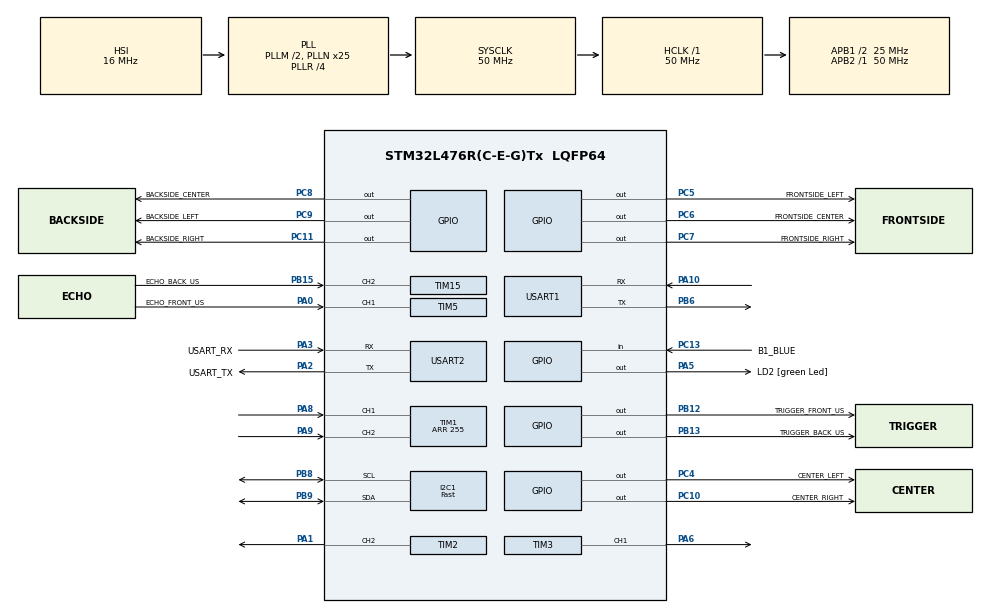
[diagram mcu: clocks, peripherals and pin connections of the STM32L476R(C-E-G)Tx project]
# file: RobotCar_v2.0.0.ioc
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Dma.Request0=USART2_RX
Dma.Request1=USART2_TX
Dma.Request2=USART1_RX
Dma.Request3=USART1_TX
Dma.USART1_RX.2.Direction=DMA_PERIPH_TO_MEMORY
Dma.USART1_RX.2.Instance=DMA1_Channel5
Dma.USART1_RX.2.MemDataAlignment=DMA_MDATAALIGN_BYTE
Dma.USART1_RX.2.MemInc=DMA_MINC_ENABLE
Dma.USART1_RX.2.Mode=DMA_NORMAL
Dma.USART1_RX.2.PeriphDataAlignment=DMA_PDATAALIGN_BYTE
Dma.USART1_RX.2.PeriphInc=DMA_PINC_DISABLE
Dma.USART1_RX.2.Priority=DMA_PRIORITY_LOW
Dma.USART1_TX.3.Direction=DMA_MEMORY_TO_PERIPH
Dma.USART1_TX.3.Instance=DMA1_Channel4
Dma.USART1_TX.3.MemDataAlignment=DMA_MDATAALIGN_BYTE
Dma.USART1_TX.3.MemInc=DMA_MINC_ENABLE
Dma.USART1_TX.3.Mode=DMA_NORMAL
Dma.USART1_TX.3.PeriphDataAlignment=DMA_PDATAALIGN_BYTE
Dma.USART1_TX.3.PeriphInc=DMA_PINC_DISABLE
Dma.USART1_TX.3.Priority=DMA_PRIORITY_LOW
Dma.USART2_RX.0.Direction=DMA_PERIPH_TO_MEMORY
Dma.USART2_RX.0.Instance=DMA1_Channel6
Dma.USART2_RX.0.MemDataAlignment=DMA_MDATAALIGN_BYTE
Dma.USART2_RX.0.MemInc=DMA_MINC_ENABLE
Dma.USART2_RX.0.Mode=DMA_NORMAL
Dma.USART2_RX.0.PeriphDataAlignment=DMA_PDATAALIGN_BYTE
Dma.USART2_RX.0.PeriphInc=DMA_PINC_DISABLE
Dma.USART2_RX.0.Priority=DMA_PRIORITY_LOW
Dma.USART2_TX.1.Direction=DMA_MEMORY_TO_PERIPH
Dma.USART2_TX.1.Instance=DMA1_Channel7
Dma.USART2_TX.1.MemDataAlignment=DMA_MDATAALIGN_BYTE
Dma.USART2_TX.1.MemInc=DMA_MINC_ENABLE
Dma.USART2_TX.1.Mode=DMA_NORMAL
Dma.USART2_TX.1.PeriphDataAlignment=DMA_PDATAALIGN_BYTE
Dma.USART2_TX.1.PeriphInc=DMA_PINC_DISABLE
Dma.USART2_TX.1.Priority=DMA_PRIORITY_LOW
I2C1.I2C_Speed_Mode=I2C_Fast
I2C1.Timing=0x00200B2B
Mcu.Family=STM32L4
Mcu.Name=STM32L476R(C-E-G)Tx
Mcu.Package=LQFP64
NVIC.DMA1_Channel4_IRQn=true\:0\:0\:false\:false\:true\:false\:true\:true
NVIC.DMA1_Channel5_IRQn=true\:0\:0\:false\:false\:true\:false\:true\:true
NVIC.DMA1_Channel6_IRQn=true\:0\:0\:false\:false\:true\:false\:true\:true
NVIC.DMA1_Channel7_IRQn=true\:0\:0\:false\:false\:true\:false\:true\:true
NVIC.PriorityGroup=NVIC_PRIORITYGROUP_4
NVIC.TIM1_BRK_TIM15_IRQn=true\:0\:0\:false\:false\:true\:true\:true\:true
NVIC.TIM2_IRQn=true\:0\:0\:false\:false\:true\:true\:true\:true
NVIC.TIM5_IRQn=true\:0\:0\:false\:false\:true\:true\:true\:true
NVIC.USART1_IRQn=true\:0\:0\:false\:false\:true\:true\:true\:true
NVIC.USART2_IRQn=true\:0\:0\:false\:false\:true\:true\:true\:true
PA0.GPIO_Label=ECHO_FRONT_US
PA0.Signal=S_TIM5_CH1
PA1.Signal=S_TIM2_CH2
PA10.Mode=Asynchronous
PA10.Signal=USART1_RX
PA13\ (JTMS-SWDIO).GPIO_Label=TMS
PA13\ (JTMS-SWDIO).Mode=Serial_Wire
PA13\ (JTMS-SWDIO).Signal=SYS_JTMS-SWDIO
PA14\ (JTCK-SWCLK).GPIO_Label=TCK
PA14\ (JTCK-SWCLK).Mode=Serial_Wire
PA14\ (JTCK-SWCLK).Signal=SYS_JTCK-SWCLK
PA2.GPIO_Label=USART_TX
PA2.GPIO_Mode=GPIO_MODE_AF_PP
PA2.GPIO_PuPd=GPIO_NOPULL
PA2.GPIO_Speed=GPIO_SPEED_FREQ_VERY_HIGH
PA2.Mode=Asynchronous
PA2.Signal=USART2_TX
PA3.GPIO_Label=USART_RX
PA3.GPIO_Mode=GPIO_MODE_AF_PP
PA3.GPIO_PuPd=GPIO_NOPULL
PA3.GPIO_Speed=GPIO_SPEED_FREQ_VERY_HIGH
PA3.Mode=Asynchronous
PA3.Signal=USART2_RX
PA5.GPIO_Label=LD2 [green Led]
PA5.GPIO_ModeDefaultOutputPP=GPIO_MODE_OUTPUT_PP
PA5.GPIO_PuPd=GPIO_NOPULL
PA5.GPIO_Speed=GPIO_SPEED_FREQ_LOW
PA5.Signal=GPIO_Output
PA6.Signal=S_TIM3_CH1
PA8.Signal=S_TIM1_CH1
PA9.Signal=S_TIM1_CH2
PB12.GPIO_Label=TRIGGER_FRONT_US
PB12.Signal=GPIO_Output
PB13.GPIO_Label=TRIGGER_BACK_US
PB13.Signal=GPIO_Output
PB15.GPIO_Label=ECHO_BACK_US
PB15.Signal=S_TIM15_CH2
PB3\ (JTDO-TRACESWO).GPIO_Label=SWO
PB3\ (JTDO-TRACESWO).Signal=SYS_JTDO-SWO
PB6.Mode=Asynchronous
PB6.Signal=USART1_TX
PB8.GPIO_FM8=SYSCFG_FASTMODEPLUS_PB8
PB8.GPIO_Pu=GPIO_PULLUP
PB8.Mode=I2C
PB8.Signal=I2C1_SCL
PB9.GPIO_FM9=SYSCFG_FASTMODEPLUS_PB9
PB9.GPIO_Pu=GPIO_PULLUP
PB9.Mode=I2C
PB9.Signal=I2C1_SDA
PC10.GPIO_Label=CENTER_RIGHT
PC10.Signal=GPIO_Output
PC11.GPIO_Label=BACKSIDE_RIGHT
PC11.Signal=GPIO_Output
PC13.GPIO_Label=B1_BLUE
PC13.Signal=GPIO_Input
PC14-OSC32_IN\ (PC14).Mode=LSE-External-Oscillator
PC14-OSC32_IN\ (PC14).Signal=RCC_OSC32_IN
PC15-OSC32_OUT\ (PC15).Mode=LSE-External-Oscillator
PC15-OSC32_OUT\ (PC15).Signal=RCC_OSC32_OUT
PC4.GPIO_Label=CENTER_LEFT
PC4.Signal=GPIO_Output
PC5.GPIO_Label=FRONTSIDE_LEFT
PC5.Signal=GPIO_Output
PC6.GPIO_Label=FRONTSIDE_CENTER
PC6.Signal=GPIO_Output
PC7.GPIO_Label=FRONTSIDE_RIGHT
PC7.Signal=GPIO_Output
PC8.GPIO_Label=BACKSIDE_CENTER
PC8.PinState=GPIO_PIN_RESET
PC8.Signal=GPIO_Output
PC9.GPIO_Label=BACKSIDE_LEFT
PC9.PinState=GPIO_PIN_RESET
PC9.Signal=GPIO_Output
PH0-OSC_IN\ (PH0).Signal=RCC_OSC_IN
PH1-OSC_OUT\ (PH1).Signal=RCC_OSC_OUT
ProjectManager.HeapSize=0x200
ProjectManager.StackSize=0x400
ProjectManager.TargetToolchain=STM32CubeIDE
RCC.ADCFreq_Value=32000000
RCC.AHBFreq_Value=50000000
RCC.APB1CLKDivider=RCC_HCLK_DIV2
RCC.APB1Freq_Value=25000000
RCC.APB1TimFreq_Value=50000000
RCC.APB2Freq_Value=50000000
RCC.APB2TimFreq_Value=50000000
RCC.CortexFreq_Value=50000000
RCC.HCLKFreq_Value=50000000
RCC.HSE_VALUE=8000000
RCC.HSI_VALUE=16000000
RCC.MSI_VALUE=4000000
RCC.PLLM=2
RCC.PLLN=25
RCC.PLLR=RCC_PLLR_DIV4
RCC.PLLSourceVirtual=RCC_PLLSOURCE_HSI
RCC.PREFETCH_ENABLE=1
RCC.SYSCLKFreq_VALUE=50000000
RCC.SYSCLKSource=RCC_SYSCLKSOURCE_PLLCLK
RCC.USBFreq_Value=32000000
RCC.VCOOutputFreq_Value=200000000
SH.S_TIM15_CH2.0=TIM15_CH2,Input_Capture2_from_TI2
SH.S_TIM1_CH1.0=TIM1_CH1,Encoder_Interface
SH.S_TIM1_CH2.0=TIM1_CH2,Encoder_Interface
SH.S_TIM2_CH2.0=TIM2_CH2,PWM Generation2 CH2
SH.S_TIM3_CH1.0=TIM3_CH1,PWM Generation1 CH1
SH.S_TIM5_CH1.0=TIM5_CH1,Input_Capture1_from_TI1
TIM1.EncoderMode=TIM_ENCODERMODE_TI1
TIM1.IC1Filter=10
TIM1.Period=255
TIM15.Channel-Input_Capture2_from_TI2=TIM_CHANNEL_2
TIM15.ICFilter_CH2=4
TIM15.ICPolarity_CH2=TIM_INPUTCHANNELPOLARITY_BOTHEDGE
TIM15.Period=10000
TIM15.Prescaler=50-1
TIM2.Channel-PWM\ Generation2\ CH2=TIM_CHANNEL_2
TIM2.Period=999
TIM2.Prescaler=899
TIM3.Channel-PWM\ Generation1\ CH1=TIM_CHANNEL_1
TIM3.Period=999
TIM3.Prescaler=899
TIM4.Period=0
TIM4.Prescaler=50-1
TIM5.Channel-Input_Capture1_from_TI1=TIM_CHANNEL_1
TIM5.ICFilter_CH1=4
TIM5.ICPolarity_CH1=TIM_INPUTCHANNELPOLARITY_BOTHEDGE
TIM5.Period=10000
TIM5.Prescaler=50-1
USART1.VirtualMode-Asynchronous=VM_ASYNC
USART2.VirtualMode-Asynchronous=VM_ASYNC
VP_TIM15_VS_ClockSourceINT.Mode=Internal
VP_TIM2_VS_ClockSourceINT.Mode=Internal
VP_TIM3_VS_ClockSourceINT.Mode=Internal
VP_TIM4_VS_ClockSourceINT.Mode=Internal
VP_TIM5_VS_ClockSourceINT.Mode=Internal
board=NUCLEO-L476RG

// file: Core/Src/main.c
/* USER CODE BEGIN Header */
/**
  ******************************************************************************
  * @file           : main.c
  * @brief          : Main program body
  ******************************************************************************
  * @attention
  *
  * Copyright (c) 2023 STMicroelectronics.
  * All rights reserved.
  *
  * This software is licensed under terms that can be found in the LICENSE file
  * in the root directory of this software component.
  * If no LICENSE file comes with this software, it is provided AS-IS.
  *
  ******************************************************************************
  */
/* USER CODE END Header */
#include "main.h"

/* USER CODE BEGIN Includes */
#include <stdio.h>
#include "VL53L4CD_RANGING.h"	// Beinhaltet alle Funktionen für Verwendung des VL53L4CD Sensors	[TOF]
#include "HCSR04_RANGING.h"		// Beinhaltet alle Funktionen für Verwendung des HCSR04 Sensors	 	[US]

/* USER CODE END Includes */

#define RESET_LENKUNG	83U;	//Nullstellung
#define RESET_MOTOR		75U;	//Nullstellung

#define PUTCHAR int __io_putchar(int ch)	// Set printf to COM3 port || serielle Schnittstelle
/* USER CODE BEGIN PD */

enum STATE{
	STOP, DRIVE, PARK
};
/* USER CODE END PD */

I2C_HandleTypeDef hi2c1;

TIM_HandleTypeDef htim1;
TIM_HandleTypeDef htim2;
TIM_HandleTypeDef htim3;

UART_HandleTypeDef huart1;
UART_HandleTypeDef huart2;
DMA_HandleTypeDef hdma_usart1_rx;
DMA_HandleTypeDef hdma_usart1_tx;
DMA_HandleTypeDef hdma_usart2_rx;
DMA_HandleTypeDef hdma_usart2_tx;

/* USER CODE BEGIN PV */

//Abstaende:
enum STATE state = STOP;

/* USER CODE END PV */

void SystemClock_Config(void);
static void MX_GPIO_Init(void);
static void MX_DMA_Init(void);
static void MX_USART2_UART_Init(void);
static void MX_I2C1_Init(void);
static void MX_TIM2_Init(void);
static void MX_TIM1_Init(void);
static void MX_TIM3_Init(void);
static void MX_USART1_UART_Init(void);
static void MX_TIM5_Init(void);
static void MX_TIM15_Init(void);
static void MX_TIM4_Init(void);
/* USER CODE BEGIN PFP */

static void TOGGLE_PIN(GPIO_TypeDef* GPIOx, uint16_t GPIO_Pin);
// static void SET_PWM_MOTOR(uint8_t value);
// static void SET_PWM_LENKUNG(uint8_t value);
static void ENCODE_SIGN(uint8_t value);
static void START_PARKING(void);
static void CHECK_STATE(void);

static void CHECK_STATE(void);
GPIO_PinState CHECK_BUTTON(void);
static void START_SIGNAL(uint16_t MODE);

// unsigned long SysTickGetTickcount(void);
/* USER CODE END PFP */

int main(void)
{

  /* MCU Configuration--------------------------------------------------------*/

  /* Reset of all peripherals, Initializes the Flash interface and the Systick. */
  HAL_Init();

  /* Configure the system clock */
  SystemClock_Config();

  /* Initialize all configured peripherals */
  MX_GPIO_Init();
  MX_DMA_Init();
  MX_USART2_UART_Init();
  MX_I2C1_Init();
  MX_TIM2_Init();
  MX_TIM1_Init();
  MX_TIM3_Init();
  MX_USART1_UART_Init();
  MX_TIM5_Init();
  MX_TIM15_Init();
  MX_TIM4_Init();

  TOF_INIT();
  SET_OFFSET();

  /* USER CODE BEGIN 2 */

  //UART
//  uint8_t tx_buff[10]={11,12,13,14,15,16,17,18,19};
  uint8_t rx_buff[10]={0};
//  uint8_t rx_buff2[10]={0};
  state = STOP;

  HAL_UART_Receive_DMA(&huart1,rx_buff,10);
  HAL_UART_Transmit_DMA(&huart2,"System Startup from Reset State\n",32);
  int UART_Tick = 0;

  //PWM Servo Lenkung
  HAL_TIM_PWM_Start(&htim2, TIM_CHANNEL_2); //Clock is at 45MHZ Prescaler 900 Counter Period 1000 =>50Hz for Servo PWM
  rx_buff[8]=0;
  //50Hz==20ms (PA1)

  //PWM Motor Antrieb
  HAL_TIM_PWM_Start(&htim3, TIM_CHANNEL_1); //Clock is at 45MHZ Prescaler 900 Counter Period 1000 =>50Hz for Servo PWM
  //PA6

//	Encoder
//  uint32_t timer_counter=0;
//  HAL_TIM_Encoder_Start(&htim1,TIM_CHANNEL_1);

  //Hier wird das Neutralsignal für den Fahrtregler ausgegeben.
//  SET_PWM_MOTOR(75); 	// Set zero position of motor driver (TIM3 PWM Motor)
  htim3.Instance->CCR1 = RESET_MOTOR;
  HAL_Delay(2000);		// Wait for motor driver to get zero position

  //Callback at USER CODE 4

  /* USER CODE END 2 */

  /* Infinite loop */
  while (1)
  {

    /* USER CODE BEGIN 3 */

	  switch (state) {

		case STOP:
//			SET_PWM_LENKUNG(83); //Set Duty Cycle of TIM2 PWM Lenkung
			htim2.Instance->CCR2 = RESET_LENKUNG;
//			SET_PWM_MOTOR(75); //Set Duty Cycle of TIM3 PWM Motor
			htim3.Instance->CCR1 = RESET_MOTOR;
			HAL_Delay(1000);

			CHECK_STATE();	//Checkt den aktuellen Fahrmodus (durch blauen Knopf änderbar) | einmal drücken DRIVE, kurz gedrückt halten PARK

		case DRIVE:
			HAL_UART_Receive_DMA(&huart1,rx_buff,10); //Achtung Uart1 bei L476 TX(D8/PA9) RX(D2/PA10) nach Beschriftung entsprechen diese Pins Uart0!
				 if((SysTickGetTickcount()-UART_Tick)>=1000)
				 {

//					timer_counter=TIM1->CNT;
					//HAL_UART_Transmit_DMA(&huart2,&timer_counter,1);

					UART_Tick=SysTickGetTickcount();
//					if(rx_buff[9]==88){HAL_GPIO_TogglePin(GPIOA,GPIO_PIN_5);}
					if(rx_buff[9]==88){TOGGLE_PIN(GPIOA,GPIO_PIN_5);}

				//WICHTIG! im Fehlerfall via Debugger die Positionen der übertagenen UART Werte prüfen im rx_buff!
//					SET_PWM_LENKUNG(rx_buff[3]); //Set Duty Cycle of TIM2 PWM Lenkung
					htim2.Instance->CCR2 = rx_buff[3];
//					SET_PWM_MOTOR(rx_buff[4]); //Set Duty Cycle of TIM3 PWM Motor
					htim3.Instance->CCR1 = rx_buff[4];

					ENCODE_SIGN(rx_buff[5]);
					//ENCODE_SIGN(rx_buff[6]);

				 }
			break;

		case PARK:
			START_PARKING();
			break;

		default:
			break;
	}

  }
  /* USER CODE END 3 */
}

/* USER CODE BEGIN PFP */

void HAL_UART_RxCpltCallback(UART_HandleTypeDef *huart){__NOP();} //check if all Data is received

/**
 *	Toggelt Pin zwischen HIGH-LOW
 *
 */
static void TOGGLE_PIN(GPIO_TypeDef* GPIOx, uint16_t GPIO_Pin)
{
	 uint32_t odr;

	  /* Check the parameters */
	  assert_param(IS_GPIO_PIN(GPIO_Pin));

	  /* get current Output Data Register value */
	  odr = GPIOx->ODR;

	  /* Set selected pins that were at low level, and reset ones that were high */
	  GPIOx->BSRR = ((odr & GPIO_Pin) << 16U) | (~odr & GPIO_Pin);
}

/**
 *
 * Steuerung des Motors, value:
 * 75...100 Entspricht 0 bis 100% Geschwindigkeit
 * PWM wird erzeugt mit TIM3
 *
static void SET_PWM_MOTOR(uint8_t value)
{

	htim3.Instance->CCR1 = value;
}
**/

/**
 * Steuerung Lenkung: value:
 *  rechts max = 45, null = 83, links max = 105
 *  PWM wird erzeugt mit TIM2
 *
static void SET_PWM_LENKUNG(uint8_t value)
{
	htim2.Instance->CCR2 = value;
}
**/

/**
 * Auswerten welches Schild erkannt wurde und entsprechend den Modus ändern
 */
static void ENCODE_SIGN(uint8_t value)
{
	switch (value) {
		//Value für Einparkschild
		case 47:
			state = PARK;
			break;
		//Value für Stop:
		case 14:
			state = STOP;
			break;
		default:
			break;
	}
}

/**
 * Funktion die Auto losfahren/parken lässt: Reaktion auf Button Betätigung
 * Blaue Taste einmal drücken = DRIVE, Taste kurz gedrückt halten = PARK
 * LD2 leuchtet solange in STOP-MODE
 *
 * DRIVE-MODE: Bei Start schnelleres blinken der LED
 * PARK-MODE: Bei Start langsameres blinken der LED
*/
static void CHECK_STATE(void)
{
	uint8_t B1_VALUE = 0x01;

	TOGGLE_PIN(GPIOA,GPIO_PIN_5);

	do
	{
		B1_VALUE = CHECK_BUTTON();
	}
	while(B1_VALUE != 0x00U);

	printf("\nDRIVE-MODE:	START\n");
	state = DRIVE;
	HAL_Delay(750);	//Zeit die Taster gedrückt werden muss um in DRIVE zu schalten

	B1_VALUE = CHECK_BUTTON();

	if(B1_VALUE == 0x00U)
	{
		printf("\nPARK-MODE:	START\n");
		state = PARK;
	}

	TOGGLE_PIN(GPIOA,GPIO_PIN_5);

	if(state == DRIVE)
	{
		START_SIGNAL(100);
	}
	else
	{
		START_SIGNAL(300);
	}
}

/**
 * Funktion erkennt ob der Blaue Knopf auf dem STM32 Board gedrückt wurde
 * (PC13)
 */
GPIO_PinState CHECK_BUTTON(void)
{
	GPIO_PinState bitstatus;
	  /* Check the parameters */
	  assert_param(IS_GPIO_PIN(GPIO_PIN_13));

	  if ((GPIOC->IDR & GPIO_PIN_13) != 0x00U)
	  {
	    bitstatus = 0x01U;
	  }
	  else
	  {
	    bitstatus = 0x00U;
	  }
	  return bitstatus;
}

static void START_SIGNAL(uint16_t MODE)
{
	for(int i = 0; i < 5; i++)
	{
		HAL_Delay(MODE);
		TOGGLE_PIN(GPIOA,GPIO_PIN_5);
		HAL_Delay(MODE);
		TOGGLE_PIN(GPIOA,GPIO_PIN_5);
	}
}

/**
 * Einparkalgorythmus v1.1.3
 *
 * distance_TOF[1] = CENTER_LEFT, distance_TOF[2] = FRONTSIDE_LEFT, distance_TOF[3] = FRONTSIDE_CENTER, distance_TOF[4] = FRONTSIDE_RIGHT, distance_TOF[5] = BACKSIDE_CENTER, distance_TOF[6] = BACKSIDE_LEFT, distance_TOF[7] = CENRER_RIGHT, distance_TOF[8] = BACKSIDE_RIGHT
 * distance_US[0] = FRONT_CENTER_US, distance_US[1] = BACK_CENTER_US
 *
 * htim3 = MOTOR, htim2 = LENKUNG
 *
 * MOTOR: Rückwärts 50....75....100 Vorwärts
 * LENKUNG: Rechts 45....83....105 Links
 */
static void START_PARKING(void)
{
	int GW_PARKLÜCKE = 220U, GW_BACK = 400U, GW_PARALLEL_FRONT = 195U, GW_PARALLEL_CENTER = 250U, GW_KORREKTUR = 300U;	//GW = Grenzwert

	htim3.Instance->CCR1 = 83;

	while(1)
	{
		//Distanzcheck ob link/rechts einparken
		GET_TOF_DATA(2);
		GET_TOF_DATA(4);

		if (distance_TOF[2] < distance_TOF[4] && distance_TOF[4] != 0U)
		{
		//Fahren bis Lücke erkannt wird
			do
			{
				GET_TOF_DATA(2);
			}
			while(distance_TOF[2] < GW_PARKLÜCKE);	// TOF FRONTSIDE_LEFT

		//Fahren bis Lücke Zuende ist
			do
			{
				GET_TOF_DATA(2);
			}
			while(distance_TOF[2] > GW_PARKLÜCKE || distance_TOF[2] == 0U);	//TOF FRONTSIDE_LEFT

		//Fahren bis Auto in Position
			do
			{
				GET_TOF_DATA(1);
			}
			while(distance_TOF[1] > GW_PARKLÜCKE || distance_TOF[1] == 0U);	//TOF CENTER_LEFT

			htim3.Instance->CCR1 = RESET_MOTOR;

		//Rückwärts und voll links einlenken
			htim2.Instance->CCR2 = 105;
			HAL_Delay(1000);
			htim3.Instance->CCR1 = 69;
			HAL_Delay(1000);
			htim3.Instance->CCR1 = RESET_MOTOR;
			HAL_Delay(1000);
			htim3.Instance->CCR1 = 69;

		//Rückwärts bis TOF BACKSIDE_LEFT Mindestabstand erkannt, dann voll rechts einschlagen
			do
			{
				GET_TOF_DATA(6);
			}
			while(distance_TOF[6] > GW_BACK || distance_TOF[6] == 0U);	//TOF BACKSIDE_LEFT

			htim3.Instance->CCR1 = RESET_MOTOR;
			HAL_Delay(1000);
			htim2.Instance->CCR2 = 45;
			HAL_Delay(1000);
			htim3.Instance->CCR1 = 69;

			//Rückwärts bis Auto wieder paralell ist
				while(1)
				{
					GET_TOF_DATA(1);
					GET_TOF_DATA(2);

					if (distance_TOF[1] < GW_PARALLEL_CENTER && distance_TOF[2] < GW_PARALLEL_FRONT)	//TOF CENTER_LEFT | TOF FRONTSIDE_LEFT
					{
						htim3.Instance->CCR1 = RESET_MOTOR;
						htim2.Instance->CCR2 = RESET_LENKUNG;
						HAL_Delay(1000);
						break;
					}
				}

			htim3.Instance->CCR1 = 83;

		//Geradeaus bis Auto korrekt steht
			do
			{
				GET_TOF_DATA(3);
			}
			while(distance_TOF[3] > GW_KORREKTUR|| distance_TOF[3] == 0U);	//TOF FRONTSIDE_CENTER

			htim3.Instance->CCR1 = RESET_MOTOR;
			state = STOP;
			break;

		}
		else if(distance_TOF[4] < distance_TOF[2] && distance_TOF[2] != 0U)
		{
		//Fahren bis Lücke erkannt wird
			do
			{
				GET_TOF_DATA(4);
			}
			while(distance_TOF[4] < GW_PARKLÜCKE);	// TOF FRONTSIDE_RIGHT

		//Fahren bis Lücke Zuende ist
			do
			{
				GET_TOF_DATA(4);
			}
			while(distance_TOF[4] > GW_PARKLÜCKE || distance_TOF[4] == 0U);	//TOF FRONTSIDE_RIGHT

		//Fahren bis Auto in Position
			do
			{
				GET_TOF_DATA(7);
			}
			while(distance_TOF[7] > GW_PARKLÜCKE || distance_TOF[7] == 0U);	//TOF CENTER_RIGHT

			htim3.Instance->CCR1 = RESET_MOTOR;

		//Rückwärts und voll rechts einlenken
			htim2.Instance->CCR2 = 45;
			HAL_Delay(1000);
			htim3.Instance->CCR1 = 69;
			HAL_Delay(1000);
			htim3.Instance->CCR1 = RESET_MOTOR;
			HAL_Delay(1000);
			htim3.Instance->CCR1 = 69;

		//Rückwärts bis TOF BACKSIDE_RIGHT Mindestabstand erkannt, dann voll links einschlagen
			do
			{
				GET_TOF_DATA(8);
			}
			while(distance_TOF[8] > GW_BACK || distance_TOF[8] == 0U);	//TOF BACKSIDE_RIGHT

			htim3.Instance->CCR1 = RESET_MOTOR;
			HAL_Delay(1000);
			htim2.Instance->CCR2 = 105;
			HAL_Delay(1000);
			htim3.Instance->CCR1 = 69;

			//Rückwärts bis Auto wieder paralell ist
				while(1)
				{
					GET_TOF_DATA(7);
					GET_TOF_DATA(4);

					if (distance_TOF[7] < GW_PARALLEL_CENTER && distance_TOF[4] < GW_PARALLEL_FRONT)	//TOF CENTER_RIGHT | TOF FRONTSIDE_RIGHT
					{
						htim3.Instance->CCR1 = RESET_MOTOR;
						htim2.Instance->CCR2 = RESET_LENKUNG;
						HAL_Delay(1000);
						break;
					}
				}

			htim3.Instance->CCR1 = 83;

		//Geradeaus bis Auto korrekt steht
			do
			{
				GET_TOF_DATA(3);
			}
			while(distance_TOF[3] > GW_KORREKTUR|| distance_TOF[3] == 0U);	//TOF FRONTSIDE_CENTER

			htim3.Instance->CCR1 = RESET_MOTOR;
			state = STOP;
			break;

		}

	}

}

/**
 *	Funktion dient zur printf Ausgabe auf der seriellen Schnittstelle
 */
	PUTCHAR
	{
		/* e.g. write a character to the USART2 and Loop until the end of transmission */
		HAL_UART_Transmit(&huart2, (uint8_t *)&ch, 1, 0xFFFF);

		return ch;
	}

/* USER CODE END PFP */

void SystemClock_Config(void)
{
  RCC_OscInitTypeDef RCC_OscInitStruct = {0};
  RCC_ClkInitTypeDef RCC_ClkInitStruct = {0};

  /** Configure the main internal regulator output voltage
  */
  if (HAL_PWREx_ControlVoltageScaling(PWR_REGULATOR_VOLTAGE_SCALE1) != HAL_OK)
  {
    Error_Handler();
  }

  /** Initializes the RCC Oscillators according to the specified parameters
  * in the RCC_OscInitTypeDef structure.
  */
  RCC_OscInitStruct.OscillatorType = RCC_OSCILLATORTYPE_HSI;
  RCC_OscInitStruct.HSIState = RCC_HSI_ON;
  RCC_OscInitStruct.HSICalibrationValue = RCC_HSICALIBRATION_DEFAULT;
  RCC_OscInitStruct.PLL.PLLState = RCC_PLL_ON;
  RCC_OscInitStruct.PLL.PLLSource = RCC_PLLSOURCE_HSI;
  RCC_OscInitStruct.PLL.PLLM = 2;
  RCC_OscInitStruct.PLL.PLLN = 25;
  RCC_OscInitStruct.PLL.PLLP = RCC_PLLP_DIV7;
  RCC_OscInitStruct.PLL.PLLQ = RCC_PLLQ_DIV2;
  RCC_OscInitStruct.PLL.PLLR = RCC_PLLR_DIV4;
  if (HAL_RCC_OscConfig(&RCC_OscInitStruct) != HAL_OK)
  {
    Error_Handler();
  }

  /** Initializes the CPU, AHB and APB buses clocks
  */
  RCC_ClkInitStruct.ClockType = RCC_CLOCKTYPE_HCLK|RCC_CLOCKTYPE_SYSCLK
                              |RCC_CLOCKTYPE_PCLK1|RCC_CLOCKTYPE_PCLK2;
  RCC_ClkInitStruct.SYSCLKSource = RCC_SYSCLKSOURCE_PLLCLK;
  RCC_ClkInitStruct.AHBCLKDivider = RCC_SYSCLK_DIV1;
  RCC_ClkInitStruct.APB1CLKDivider = RCC_HCLK_DIV2;
  RCC_ClkInitStruct.APB2CLKDivider = RCC_HCLK_DIV1;

  if (HAL_RCC_ClockConfig(&RCC_ClkInitStruct, FLASH_LATENCY_3) != HAL_OK)
  {
    Error_Handler();
  }
}

static void MX_I2C1_Init(void)
{

  hi2c1.Instance = I2C1;
  hi2c1.Init.Timing = 0x00200B2B;
  hi2c1.Init.OwnAddress1 = 0;
  hi2c1.Init.AddressingMode = I2C_ADDRESSINGMODE_7BIT;
  hi2c1.Init.DualAddressMode = I2C_DUALADDRESS_DISABLE;
  hi2c1.Init.OwnAddress2 = 0;
  hi2c1.Init.OwnAddress2Masks = I2C_OA2_NOMASK;
  hi2c1.Init.GeneralCallMode = I2C_GENERALCALL_DISABLE;
  hi2c1.Init.NoStretchMode = I2C_NOSTRETCH_DISABLE;
  if (HAL_I2C_Init(&hi2c1) != HAL_OK)
  {
    Error_Handler();
  }

  /** Configure Analogue filter
  */
  if (HAL_I2CEx_ConfigAnalogFilter(&hi2c1, I2C_ANALOGFILTER_ENABLE) != HAL_OK)
  {
    Error_Handler();
  }

  /** Configure Digital filter
  */
  if (HAL_I2CEx_ConfigDigitalFilter(&hi2c1, 0) != HAL_OK)
  {
    Error_Handler();
  }

}

static void MX_TIM1_Init(void)
{

  TIM_Encoder_InitTypeDef sConfig = {0};
  TIM_MasterConfigTypeDef sMasterConfig = {0};

  htim1.Instance = TIM1;
  htim1.Init.Prescaler = 0;
  htim1.Init.CounterMode = TIM_COUNTERMODE_UP;
  htim1.Init.Period = 255;
  htim1.Init.ClockDivision = TIM_CLOCKDIVISION_DIV1;
  htim1.Init.RepetitionCounter = 0;
  htim1.Init.AutoReloadPreload = TIM_AUTORELOAD_PRELOAD_DISABLE;
  sConfig.EncoderMode = TIM_ENCODERMODE_TI1;
  sConfig.IC1Polarity = TIM_ICPOLARITY_RISING;
  sConfig.IC1Selection = TIM_ICSELECTION_DIRECTTI;
  sConfig.IC1Prescaler = TIM_ICPSC_DIV1;
  sConfig.IC1Filter = 10;
  sConfig.IC2Polarity = TIM_ICPOLARITY_RISING;
  sConfig.IC2Selection = TIM_ICSELECTION_DIRECTTI;
  sConfig.IC2Prescaler = TIM_ICPSC_DIV1;
  sConfig.IC2Filter = 0;
  if (HAL_TIM_Encoder_Init(&htim1, &sConfig) != HAL_OK)
  {
    Error_Handler();
  }
  sMasterConfig.MasterOutputTrigger = TIM_TRGO_RESET;
  sMasterConfig.MasterOutputTrigger2 = TIM_TRGO2_RESET;
  sMasterConfig.MasterSlaveMode = TIM_MASTERSLAVEMODE_DISABLE;
  if (HAL_TIMEx_MasterConfigSynchronization(&htim1, &sMasterConfig) != HAL_OK)
  {
    Error_Handler();
  }

}

static void MX_TIM2_Init(void)
{

  TIM_ClockConfigTypeDef sClockSourceConfig = {0};
  TIM_MasterConfigTypeDef sMasterConfig = {0};
  TIM_OC_InitTypeDef sConfigOC = {0};

  htim2.Instance = TIM2;
  htim2.Init.Prescaler = 899;
  htim2.Init.CounterMode = TIM_COUNTERMODE_UP;
  htim2.Init.Period = 999;
  htim2.Init.ClockDivision = TIM_CLOCKDIVISION_DIV1;
  htim2.Init.AutoReloadPreload = TIM_AUTORELOAD_PRELOAD_DISABLE;
  if (HAL_TIM_Base_Init(&htim2) != HAL_OK)
  {
    Error_Handler();
  }
  sClockSourceConfig.ClockSource = TIM_CLOCKSOURCE_INTERNAL;
  if (HAL_TIM_ConfigClockSource(&htim2, &sClockSourceConfig) != HAL_OK)
  {
    Error_Handler();
  }
  if (HAL_TIM_PWM_Init(&htim2) != HAL_OK)
  {
    Error_Handler();
  }
  sMasterConfig.MasterOutputTrigger = TIM_TRGO_RESET;
  sMasterConfig.MasterSlaveMode = TIM_MASTERSLAVEMODE_DISABLE;
  if (HAL_TIMEx_MasterConfigSynchronization(&htim2, &sMasterConfig) != HAL_OK)
  {
    Error_Handler();
  }
  sConfigOC.OCMode = TIM_OCMODE_PWM1;
  sConfigOC.Pulse = 0;
  sConfigOC.OCPolarity = TIM_OCPOLARITY_HIGH;
  sConfigOC.OCFastMode = TIM_OCFAST_DISABLE;
  if (HAL_TIM_PWM_ConfigChannel(&htim2, &sConfigOC, TIM_CHANNEL_2) != HAL_OK)
  {
    Error_Handler();
  }
  HAL_TIM_MspPostInit(&htim2);

}

static void MX_TIM3_Init(void)
{

  TIM_ClockConfigTypeDef sClockSourceConfig = {0};
  TIM_MasterConfigTypeDef sMasterConfig = {0};
  TIM_OC_InitTypeDef sConfigOC = {0};

  htim3.Instance = TIM3;
  htim3.Init.Prescaler = 899;
  htim3.Init.CounterMode = TIM_COUNTERMODE_UP;
  htim3.Init.Period = 999;
  htim3.Init.ClockDivision = TIM_CLOCKDIVISION_DIV1;
  htim3.Init.AutoReloadPreload = TIM_AUTORELOAD_PRELOAD_DISABLE;
  if (HAL_TIM_Base_Init(&htim3) != HAL_OK)
  {
    Error_Handler();
  }
  sClockSourceConfig.ClockSource = TIM_CLOCKSOURCE_INTERNAL;
  if (HAL_TIM_ConfigClockSource(&htim3, &sClockSourceConfig) != HAL_OK)
  {
    Error_Handler();
  }
  if (HAL_TIM_PWM_Init(&htim3) != HAL_OK)
  {
    Error_Handler();
  }
  sMasterConfig.MasterOutputTrigger = TIM_TRGO_RESET;
  sMasterConfig.MasterSlaveMode = TIM_MASTERSLAVEMODE_DISABLE;
  if (HAL_TIMEx_MasterConfigSynchronization(&htim3, &sMasterConfig) != HAL_OK)
  {
    Error_Handler();
  }
  sConfigOC.OCMode = TIM_OCMODE_PWM1;
  sConfigOC.Pulse = 0;
  sConfigOC.OCPolarity = TIM_OCPOLARITY_HIGH;
  sConfigOC.OCFastMode = TIM_OCFAST_DISABLE;
  if (HAL_TIM_PWM_ConfigChannel(&htim3, &sConfigOC, TIM_CHANNEL_1) != HAL_OK)
  {
    Error_Handler();
  }
  /* USER CODE BEGIN TIM3_Init 2 */
  HAL_TIM_Encoder_Start(&htim3,TIM_CHANNEL_ALL);					///*******MODIFIED

  /* USER CODE END TIM3_Init 2 */
  HAL_TIM_MspPostInit(&htim3);

}

static void MX_TIM4_Init(void)
{

  TIM_ClockConfigTypeDef sClockSourceConfig = {0};
  TIM_MasterConfigTypeDef sMasterConfig = {0};

  htim4.Instance = TIM4;
  htim4.Init.Prescaler = 50-1;
  htim4.Init.CounterMode = TIM_COUNTERMODE_UP;
  htim4.Init.Period = 0;
  htim4.Init.ClockDivision = TIM_CLOCKDIVISION_DIV1;
  htim4.Init.AutoReloadPreload = TIM_AUTORELOAD_PRELOAD_DISABLE;
  if (HAL_TIM_Base_Init(&htim4) != HAL_OK)
  {
    Error_Handler();
  }
  sClockSourceConfig.ClockSource = TIM_CLOCKSOURCE_INTERNAL;
  if (HAL_TIM_ConfigClockSource(&htim4, &sClockSourceConfig) != HAL_OK)
  {
    Error_Handler();
  }
  sMasterConfig.MasterOutputTrigger = TIM_TRGO_RESET;
  sMasterConfig.MasterSlaveMode = TIM_MASTERSLAVEMODE_DISABLE;
  if (HAL_TIMEx_MasterConfigSynchronization(&htim4, &sMasterConfig) != HAL_OK)
  {
    Error_Handler();
  }

}

static void MX_TIM5_Init(void)
{

  TIM_ClockConfigTypeDef sClockSourceConfig = {0};
  TIM_MasterConfigTypeDef sMasterConfig = {0};
  TIM_IC_InitTypeDef sConfigIC = {0};

  htim5.Instance = TIM5;
  htim5.Init.Prescaler = 50-1;
  htim5.Init.CounterMode = TIM_COUNTERMODE_UP;
  htim5.Init.Period = 10000;
  htim5.Init.ClockDivision = TIM_CLOCKDIVISION_DIV1;
  htim5.Init.AutoReloadPreload = TIM_AUTORELOAD_PRELOAD_DISABLE;
  if (HAL_TIM_Base_Init(&htim5) != HAL_OK)
  {
    Error_Handler();
  }
  sClockSourceConfig.ClockSource = TIM_CLOCKSOURCE_INTERNAL;
  if (HAL_TIM_ConfigClockSource(&htim5, &sClockSourceConfig) != HAL_OK)
  {
    Error_Handler();
  }
  if (HAL_TIM_IC_Init(&htim5) != HAL_OK)
  {
    Error_Handler();
  }
  sMasterConfig.MasterOutputTrigger = TIM_TRGO_RESET;
  sMasterConfig.MasterSlaveMode = TIM_MASTERSLAVEMODE_DISABLE;
  if (HAL_TIMEx_MasterConfigSynchronization(&htim5, &sMasterConfig) != HAL_OK)
  {
    Error_Handler();
  }
  sConfigIC.ICPolarity = TIM_INPUTCHANNELPOLARITY_BOTHEDGE;
  sConfigIC.ICSelection = TIM_ICSELECTION_DIRECTTI;
  sConfigIC.ICPrescaler = TIM_ICPSC_DIV1;
  sConfigIC.ICFilter = 4;
  if (HAL_TIM_IC_ConfigChannel(&htim5, &sConfigIC, TIM_CHANNEL_1) != HAL_OK)
  {
    Error_Handler();
  }

}

static void MX_TIM15_Init(void)
{

  TIM_ClockConfigTypeDef sClockSourceConfig = {0};
  TIM_MasterConfigTypeDef sMasterConfig = {0};
  TIM_IC_InitTypeDef sConfigIC = {0};

  htim15.Instance = TIM15;
  htim15.Init.Prescaler = 50-1;
  htim15.Init.CounterMode = TIM_COUNTERMODE_UP;
  htim15.Init.Period = 10000;
  htim15.Init.ClockDivision = TIM_CLOCKDIVISION_DIV1;
  htim15.Init.RepetitionCounter = 0;
  htim15.Init.AutoReloadPreload = TIM_AUTORELOAD_PRELOAD_DISABLE;
  if (HAL_TIM_Base_Init(&htim15) != HAL_OK)
  {
    Error_Handler();
  }
  sClockSourceConfig.ClockSource = TIM_CLOCKSOURCE_INTERNAL;
  if (HAL_TIM_ConfigClockSource(&htim15, &sClockSourceConfig) != HAL_OK)
  {
    Error_Handler();
  }
  if (HAL_TIM_IC_Init(&htim15) != HAL_OK)
  {
    Error_Handler();
  }
  sMasterConfig.MasterOutputTrigger = TIM_TRGO_RESET;
  sMasterConfig.MasterSlaveMode = TIM_MASTERSLAVEMODE_DISABLE;
  if (HAL_TIMEx_MasterConfigSynchronization(&htim15, &sMasterConfig) != HAL_OK)
  {
    Error_Handler();
  }
  sConfigIC.ICPolarity = TIM_INPUTCHANNELPOLARITY_BOTHEDGE;
  sConfigIC.ICSelection = TIM_ICSELECTION_DIRECTTI;
  sConfigIC.ICPrescaler = TIM_ICPSC_DIV1;
  sConfigIC.ICFilter = 4;
  if (HAL_TIM_IC_ConfigChannel(&htim15, &sConfigIC, TIM_CHANNEL_2) != HAL_OK)
  {
    Error_Handler();
  }

}

static void MX_USART1_UART_Init(void)
{

  huart1.Instance = USART1;
  huart1.Init.BaudRate = 115200;
  huart1.Init.WordLength = UART_WORDLENGTH_8B;
  huart1.Init.StopBits = UART_STOPBITS_1;
  huart1.Init.Parity = UART_PARITY_NONE;
  huart1.Init.Mode = UART_MODE_TX_RX;
  huart1.Init.HwFlowCtl = UART_HWCONTROL_NONE;
  huart1.Init.OverSampling = UART_OVERSAMPLING_16;
  huart1.Init.OneBitSampling = UART_ONE_BIT_SAMPLE_DISABLE;
  huart1.AdvancedInit.AdvFeatureInit = UART_ADVFEATURE_NO_INIT;
  if (HAL_UART_Init(&huart1) != HAL_OK)
  {
    Error_Handler();
  }

}

static void MX_USART2_UART_Init(void)
{

  huart2.Instance = USART2;
  huart2.Init.BaudRate = 115200;
  huart2.Init.WordLength = UART_WORDLENGTH_8B;
  huart2.Init.StopBits = UART_STOPBITS_1;
  huart2.Init.Parity = UART_PARITY_NONE;
  huart2.Init.Mode = UART_MODE_TX_RX;
  huart2.Init.HwFlowCtl = UART_HWCONTROL_NONE;
  huart2.Init.OverSampling = UART_OVERSAMPLING_16;
  huart2.Init.OneBitSampling = UART_ONE_BIT_SAMPLE_DISABLE;
  huart2.AdvancedInit.AdvFeatureInit = UART_ADVFEATURE_NO_INIT;
  if (HAL_UART_Init(&huart2) != HAL_OK)
  {
    Error_Handler();
  }

}

static void MX_DMA_Init(void)
{

  /* DMA controller clock enable */
  __HAL_RCC_DMA1_CLK_ENABLE();

  /* DMA interrupt init */
  /* DMA1_Channel4_IRQn interrupt configuration */
  HAL_NVIC_SetPriority(DMA1_Channel4_IRQn, 0, 0);
  HAL_NVIC_EnableIRQ(DMA1_Channel4_IRQn);
  /* DMA1_Channel5_IRQn interrupt configuration */
  HAL_NVIC_SetPriority(DMA1_Channel5_IRQn, 0, 0);
  HAL_NVIC_EnableIRQ(DMA1_Channel5_IRQn);
  /* DMA1_Channel6_IRQn interrupt configuration */
  HAL_NVIC_SetPriority(DMA1_Channel6_IRQn, 0, 0);
  HAL_NVIC_EnableIRQ(DMA1_Channel6_IRQn);
  /* DMA1_Channel7_IRQn interrupt configuration */
  HAL_NVIC_SetPriority(DMA1_Channel7_IRQn, 0, 0);
  HAL_NVIC_EnableIRQ(DMA1_Channel7_IRQn);

}

static void MX_GPIO_Init(void)
{
  GPIO_InitTypeDef GPIO_InitStruct = {0};

  /* GPIO Ports Clock Enable */
  __HAL_RCC_GPIOC_CLK_ENABLE();
  __HAL_RCC_GPIOH_CLK_ENABLE();
  __HAL_RCC_GPIOA_CLK_ENABLE();
  __HAL_RCC_GPIOB_CLK_ENABLE();

  /*Configure GPIO pin Output Level */
  HAL_GPIO_WritePin(LD2_GPIO_Port, LD2_Pin, GPIO_PIN_RESET);

  /*Configure GPIO pin Output Level */
  HAL_GPIO_WritePin(GPIOC, CENTER_LEFT_Pin|FRONTSIDE_LEFT_Pin|FRONTSIDE_CENTER_Pin|FRONTSIDE_RIGHT_Pin
                          |BACKSIDE_CENTER_Pin|BACKSIDE_LEFT_Pin|CENTER_RIGHT_Pin|BACKSIDE_RIGHT_Pin, GPIO_PIN_RESET);

  /*Configure GPIO pin Output Level */
  HAL_GPIO_WritePin(GPIOB, TRIGGER_FRONT_US_Pin|TRIGGER_BACK_US_Pin, GPIO_PIN_RESET);

  /*Configure GPIO pin : B1_BLUE_Pin */
  GPIO_InitStruct.Pin = B1_BLUE_Pin;
  GPIO_InitStruct.Mode = GPIO_MODE_INPUT;
  GPIO_InitStruct.Pull = GPIO_NOPULL;
  HAL_GPIO_Init(B1_BLUE_GPIO_Port, &GPIO_InitStruct);

  /*Configure GPIO pin : LD2_Pin */
  GPIO_InitStruct.Pin = LD2_Pin;
  GPIO_InitStruct.Mode = GPIO_MODE_OUTPUT_PP;
  GPIO_InitStruct.Pull = GPIO_NOPULL;
  GPIO_InitStruct.Speed = GPIO_SPEED_FREQ_LOW;
  HAL_GPIO_Init(LD2_GPIO_Port, &GPIO_InitStruct);

  /*Configure GPIO pins : CENTER_LEFT_Pin FRONTSIDE_LEFT_Pin FRONTSIDE_CENTER_Pin FRONTSIDE_RIGHT_Pin
                           BACKSIDE_CENTER_Pin BACKSIDE_LEFT_Pin CENTER_RIGHT_Pin BACKSIDE_RIGHT_Pin */
  GPIO_InitStruct.Pin = CENTER_LEFT_Pin|FRONTSIDE_LEFT_Pin|FRONTSIDE_CENTER_Pin|FRONTSIDE_RIGHT_Pin
                          |BACKSIDE_CENTER_Pin|BACKSIDE_LEFT_Pin|CENTER_RIGHT_Pin|BACKSIDE_RIGHT_Pin;
  GPIO_InitStruct.Mode = GPIO_MODE_OUTPUT_PP;
  GPIO_InitStruct.Pull = GPIO_NOPULL;
  GPIO_InitStruct.Speed = GPIO_SPEED_FREQ_LOW;
  HAL_GPIO_Init(GPIOC, &GPIO_InitStruct);

  /*Configure GPIO pins : TRIGGER_FRONT_US_Pin TRIGGER_BACK_US_Pin */
  GPIO_InitStruct.Pin = TRIGGER_FRONT_US_Pin|TRIGGER_BACK_US_Pin;
  GPIO_InitStruct.Mode = GPIO_MODE_OUTPUT_PP;
  GPIO_InitStruct.Pull = GPIO_NOPULL;
  GPIO_InitStruct.Speed = GPIO_SPEED_FREQ_LOW;
  HAL_GPIO_Init(GPIOB, &GPIO_InitStruct);

}

void Error_Handler(void)
{
  __disable_irq();
  while (1)
  {
  }
}
